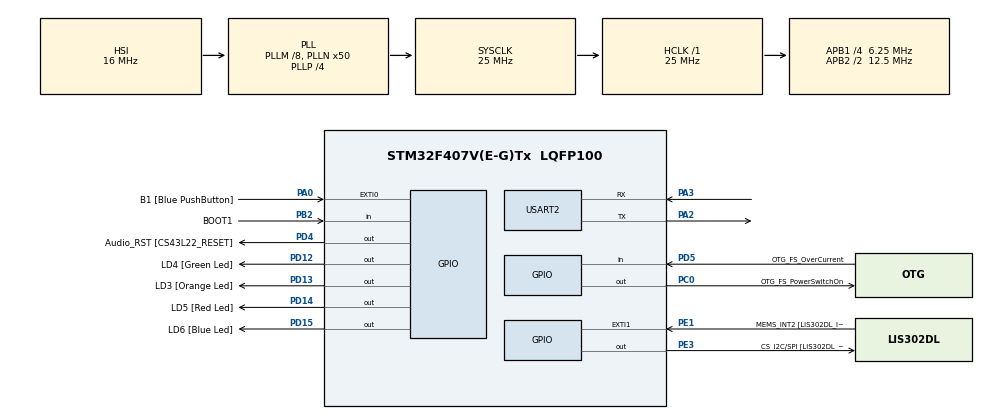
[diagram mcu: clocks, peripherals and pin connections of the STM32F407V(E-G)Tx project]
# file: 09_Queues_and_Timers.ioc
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Mcu.Family=STM32F4
Mcu.Name=STM32F407V(E-G)Tx
Mcu.Package=LQFP100
NVIC.PriorityGroup=NVIC_PRIORITYGROUP_4
NVIC.TIM6_DAC_IRQn=true\:15\:0\:false\:false\:true\:false\:true\:true
NVIC.TimeBase=TIM6_DAC_IRQn
NVIC.TimeBaseIP=TIM6
NVIC.USART2_IRQn=true\:5\:0\:true\:false\:true\:true\:true\:true
PA0-WKUP.GPIO_Label=B1 [Blue PushButton]
PA0-WKUP.Signal=GPXTI0
PA10.GPIO_Label=OTG_FS_ID
PA10.GPIO_Mode=GPIO_MODE_AF_PP
PA10.GPIO_PuPd=GPIO_NOPULL
PA10.GPIO_Speed=GPIO_SPEED_FREQ_LOW
PA10.Signal=USB_OTG_FS_ID
PA11.GPIO_Label=OTG_FS_DM
PA11.GPIO_Mode=GPIO_MODE_AF_PP
PA11.GPIO_PuPd=GPIO_NOPULL
PA11.GPIO_Speed=GPIO_SPEED_FREQ_LOW
PA11.Signal=USB_OTG_FS_DM
PA12.GPIO_Label=OTG_FS_DP
PA12.GPIO_Mode=GPIO_MODE_AF_PP
PA12.GPIO_PuPd=GPIO_NOPULL
PA12.GPIO_Speed=GPIO_SPEED_FREQ_LOW
PA12.Signal=USB_OTG_FS_DP
PA13.GPIO_Label=SWDIO
PA13.Signal=SYS_JTMS-SWDIO
PA14.GPIO_Label=SWCLK
PA14.Signal=SYS_JTCK-SWCLK
PA2.Mode=Asynchronous
PA2.Signal=USART2_TX
PA3.Mode=Asynchronous
PA3.Signal=USART2_RX
PA4.GPIO_Label=I2S3_WS [CS43L22_LRCK]
PA4.GPIO_Mode=GPIO_MODE_AF_PP
PA4.GPIO_PuPd=GPIO_NOPULL
PA4.GPIO_Speed=GPIO_SPEED_FREQ_LOW
PA4.Signal=I2S3_WS
PA5.GPIO_Label=SPI1_SCK [LIS302DL_SCL/SPC]
PA5.GPIO_Mode=GPIO_MODE_AF_PP
PA5.GPIO_PuPd=GPIO_NOPULL
PA5.GPIO_Speed=GPIO_SPEED_FREQ_LOW
PA5.Signal=SPI1_SCK
PA6.GPIO_Label=SPI1_MISO [LIS302DL_SDO]
PA6.GPIO_Mode=GPIO_MODE_AF_PP
PA6.GPIO_PuPd=GPIO_NOPULL
PA6.GPIO_Speed=GPIO_SPEED_FREQ_LOW
PA6.Signal=SPI1_MISO
PA7.GPIO_Label=SPI1_MOSI [LIS302DL_SDA/SDI/SDO]
PA7.GPIO_Mode=GPIO_MODE_AF_PP
PA7.GPIO_PuPd=GPIO_NOPULL
PA7.GPIO_Speed=GPIO_SPEED_FREQ_LOW
PA7.Signal=SPI1_MOSI
PA9.GPIO_Label=VBUS_FS
PA9.GPIO_Mode=GPIO_MODE_INPUT
PA9.GPIO_PuPd=GPIO_NOPULL
PA9.Signal=USB_OTG_FS_VBUS
PB10.GPIO_Label=CLK_IN [MP45DT02_CLK]
PB10.GPIO_Mode=GPIO_MODE_AF_PP
PB10.GPIO_PuPd=GPIO_NOPULL
PB10.GPIO_Speed=GPIO_SPEED_FREQ_LOW
PB10.Signal=I2S2_CK
PB2.GPIO_Label=BOOT1
PB2.GPIO_Mode=GPIO_MODE_INPUT
PB2.GPIO_PuPd=GPIO_NOPULL
PB2.Signal=GPIO_Input
PB3.GPIO_Label=SWO
PB3.Signal=SYS_JTDO-SWO
PB6.GPIO_Label=Audio_SCL [CS43L22_SCL]
PB6.GPIO_Mode=GPIO_MODE_AF_OD
PB6.GPIO_PuPd=GPIO_NOPULL
PB6.GPIO_Speed=GPIO_SPEED_FREQ_LOW
PB6.Signal=I2C1_SCL
PB9.GPIO_Label=Audio_SDA [CS43L22_SDA]
PB9.GPIO_Mode=GPIO_MODE_AF_OD
PB9.GPIO_PuPd=GPIO_NOPULL
PB9.GPIO_Speed=GPIO_SPEED_FREQ_LOW
PB9.Signal=I2C1_SDA
PC0.GPIO_Label=OTG_FS_PowerSwitchOn
PC0.GPIO_PuPd=GPIO_NOPULL
PC0.GPIO_Speed=GPIO_SPEED_FREQ_LOW
PC0.PinState=GPIO_PIN_SET
PC0.Signal=GPIO_Output
PC10.GPIO_Label=I2S3_SCK [CS43L22_SCLK]
PC10.GPIO_Mode=GPIO_MODE_AF_PP
PC10.GPIO_PuPd=GPIO_NOPULL
PC10.GPIO_Speed=GPIO_SPEED_FREQ_LOW
PC10.Signal=I2S3_CK
PC12.GPIO_Label=I2S3_SD [CS43L22_SDIN]
PC12.GPIO_Mode=GPIO_MODE_AF_PP
PC12.GPIO_PuPd=GPIO_NOPULL
PC12.GPIO_Speed=GPIO_SPEED_FREQ_LOW
PC12.Signal=I2S3_SD
PC14-OSC32_IN.GPIO_Label=PC14-OSC32_IN
PC14-OSC32_IN.Signal=RCC_OSC32_IN
PC15-OSC32_OUT.GPIO_Label=PC15-OSC32_OUT
PC15-OSC32_OUT.Signal=RCC_OSC32_OUT
PC3.GPIO_Label=PDM_OUT [MP45DT02_DOUT]
PC3.GPIO_Mode=GPIO_MODE_AF_PP
PC3.GPIO_PuPd=GPIO_NOPULL
PC3.GPIO_Speed=GPIO_SPEED_FREQ_LOW
PC3.Signal=I2S2_SD
PC7.GPIO_Label=I2S3_MCK [CS43L22_MCLK]
PC7.GPIO_Mode=GPIO_MODE_AF_PP
PC7.GPIO_PuPd=GPIO_NOPULL
PC7.GPIO_Speed=GPIO_SPEED_FREQ_LOW
PC7.Signal=I2S3_MCK
PD12.GPIO_Label=LD4 [Green Led]
PD12.GPIO_PuPd=GPIO_NOPULL
PD12.GPIO_Speed=GPIO_SPEED_FREQ_LOW
PD12.Signal=GPIO_Output
PD13.GPIO_Label=LD3 [Orange Led]
PD13.GPIO_PuPd=GPIO_NOPULL
PD13.GPIO_Speed=GPIO_SPEED_FREQ_LOW
PD13.Signal=GPIO_Output
PD14.GPIO_Label=LD5 [Red Led]
PD14.GPIO_PuPd=GPIO_NOPULL
PD14.GPIO_Speed=GPIO_SPEED_FREQ_LOW
PD14.Signal=GPIO_Output
PD15.GPIO_Label=LD6 [Blue Led]
PD15.GPIO_PuPd=GPIO_NOPULL
PD15.GPIO_Speed=GPIO_SPEED_FREQ_LOW
PD15.Signal=GPIO_Output
PD4.GPIO_Label=Audio_RST [CS43L22_RESET]
PD4.GPIO_PuPd=GPIO_NOPULL
PD4.GPIO_Speed=GPIO_SPEED_FREQ_LOW
PD4.Signal=GPIO_Output
PD5.GPIO_Label=OTG_FS_OverCurrent
PD5.GPIO_Mode=GPIO_MODE_INPUT
PD5.GPIO_PuPd=GPIO_NOPULL
PD5.Signal=GPIO_Input
PE1.GPIO_Label=MEMS_INT2 [LIS302DL_INT2]
PE1.GPIO_ModeDefaultEXTI=GPIO_MODE_EVT_RISING
PE1.GPIO_PuPd=GPIO_NOPULL
PE1.Signal=GPXTI1
PE3.GPIO_Label=CS_I2C/SPI [LIS302DL_CS_I2C/SPI]
PE3.GPIO_PuPd=GPIO_NOPULL
PE3.GPIO_Speed=GPIO_SPEED_FREQ_LOW
PE3.Signal=GPIO_Output
PH0-OSC_IN.GPIO_Label=PH0-OSC_IN
PH0-OSC_IN.Signal=RCC_OSC_IN
PH1-OSC_OUT.GPIO_Label=PH1-OSC_OUT
PH1-OSC_OUT.Signal=RCC_OSC_OUT
ProjectManager.HeapSize=0x200
ProjectManager.StackSize=0x400
ProjectManager.TargetToolchain=STM32CubeIDE
RCC.48MHZClocksFreq_Value=14285714.285714285
RCC.AHBFreq_Value=25000000
RCC.APB1CLKDivider=RCC_HCLK_DIV4
RCC.APB1Freq_Value=6250000
RCC.APB1TimFreq_Value=12500000
RCC.APB2CLKDivider=RCC_HCLK_DIV2
RCC.APB2Freq_Value=12500000
RCC.APB2TimFreq_Value=25000000
RCC.CortexFreq_Value=25000000
RCC.HCLKFreq_Value=25000000
RCC.HSE_VALUE=8000000
RCC.HSI_VALUE=16000000
RCC.LSE_VALUE=32768
RCC.PLLM=8
RCC.PLLN=50
RCC.PLLP=RCC_PLLP_DIV4
RCC.PLLQ=7
RCC.SYSCLKFreq_VALUE=25000000
RCC.SYSCLKSource=RCC_SYSCLKSOURCE_PLLCLK
RCC.VCOOutputFreq_Value=100000000
RTC.HourFormat=RTC_HOURFORMAT_12
USART2.VirtualMode=VM_ASYNC
VP_RTC_VS_RTC_Activate.Mode=RTC_Enabled
VP_SYS_VS_tim6.Mode=TIM6
board=STM32F407G-DISC1

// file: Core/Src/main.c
/* USER CODE BEGIN Header */
/**
  ******************************************************************************
  * @file           : main.c
  * @brief          : Main program body
  ******************************************************************************
  * @attention
  *
  * Copyright (c) 2023 STMicroelectronics.
  * All rights reserved.
  *
  * This software is licensed under terms that can be found in the LICENSE file
  * in the root directory of this software component.
  * If no LICENSE file comes with this software, it is provided AS-IS.
  *
  ******************************************************************************
  */
/* USER CODE END Header */
#include "main.h"

RTC_HandleTypeDef hrtc;

UART_HandleTypeDef huart2;

/* USER CODE BEGIN PV */
xTaskHandle cmd_task_handle;
xTaskHandle menu_task_handle;
xTaskHandle print_task_handle;
xTaskHandle led_task_handle;
xTaskHandle rtc_task_handle;

QueueHandle_t q_data;
QueueHandle_t q_print;

// Software timer handles
TimerHandle_t led_timer_handles[4];
TimerHandle_t rtc_timer;	// For RTC reporting functionality

uint8_t volatile data_byte;

State_Enum curr_state = sMainMenu;	// Application state

/* USER CODE END PV */

void SystemClock_Config(void);
static void MX_GPIO_Init(void);
static void MX_RTC_Init(void);
static void MX_USART2_UART_Init(void);
/* USER CODE BEGIN PFP */
void led_timer_callback(TimerHandle_t xTimer);
void rtc_report_callback(TimerHandle_t xTimer);	// For RTC reporting functionality

/* USER CODE END PFP */

int main(void)
{
  /* USER CODE BEGIN 1 */
  BaseType_t status;	// Stores the return value of xTaskCreate()

  /* USER CODE END 1 */

  /* MCU Configuration--------------------------------------------------------*/

  /* Reset of all peripherals, Initializes the Flash interface and the Systick. */
  HAL_Init();

  /* Configure the system clock */
  SystemClock_Config();

  /* Initialize all configured peripherals */
  MX_GPIO_Init();
  MX_RTC_Init();
  MX_USART2_UART_Init();
  /* USER CODE BEGIN 2 */

  //-------------------------------- Create tasks ---------------------------------------
  status = xTaskCreate(menu_task_handler, "menu_task", 250, NULL, 2, &menu_task_handle);
  configASSERT(status == pdPASS);

  status = xTaskCreate(cmd_task_handler, "cmd_task", 250, NULL, 2, &cmd_task_handle);
  configASSERT(status == pdPASS);

  status = xTaskCreate(print_task_handler, "print_task", 250, NULL, 2, &print_task_handle);
  configASSERT(status == pdPASS);

  status = xTaskCreate(led_task_handler, "led_task", 250, NULL, 2, &led_task_handle);
  configASSERT(status == pdPASS);

  status = xTaskCreate(rtc_task_handler, "rtc_task", 250, NULL, 2, &rtc_task_handle);
  configASSERT(status == pdPASS);

  //-------------------------------- Create queues --------------------------------------

  // Create input data queue
  q_data = xQueueCreate(10, sizeof(char));
  configASSERT(q_data != NULL);		// If the queue creation fails, program will hand here

  // Create print queue
  q_print = xQueueCreate(10, sizeof(size_t));	// pointer-size
  configASSERT(q_print != NULL);	// If the queue creation fails, program will hand here

  // Create software timers for LED effects
  for (int i = 0; i < 4; i++)
	  led_timer_handles[i] = xTimerCreate("led_timer", pdMS_TO_TICKS(500), pdTRUE, (void *)(i + 1), led_timer_callback);

  // Create a software timer for RTC reporting functionality
  rtc_timer = xTimerCreate("rtc_report_timer", pdMS_TO_TICKS(1000), pdTRUE, NULL, rtc_report_callback);

  // Prepare the USART peripheral so that it can receive data bytes in the interrupt mode.
  // Whenever the data is received, the callback function 'HAL_UART_RxCpltCallback()' will
  // be called.
  HAL_UART_Receive_IT(&huart2, (uint8_t *)&data_byte, 1);

  // Start FreeRTOS scheduler
  // vTaskStartScheduler() never returns unless there's a problem launching scheduler
  vTaskStartScheduler();

  // This line will only be reached if the kernel could not be started because there was
  // not enough FreeRTOS heap to create the idle task or the timer task.

  /* USER CODE END 2 */

  /* Infinite loop */
  while (1)
  {

  }
}

void SystemClock_Config(void)
{
  RCC_OscInitTypeDef RCC_OscInitStruct = {0};
  RCC_ClkInitTypeDef RCC_ClkInitStruct = {0};

  /** Configure the main internal regulator output voltage
  */
  __HAL_RCC_PWR_CLK_ENABLE();
  __HAL_PWR_VOLTAGESCALING_CONFIG(PWR_REGULATOR_VOLTAGE_SCALE1);

  /** Initializes the RCC Oscillators according to the specified parameters
  * in the RCC_OscInitTypeDef structure.
  */
  RCC_OscInitStruct.OscillatorType = RCC_OSCILLATORTYPE_HSI|RCC_OSCILLATORTYPE_LSI;
  RCC_OscInitStruct.HSIState = RCC_HSI_ON;
  RCC_OscInitStruct.HSICalibrationValue = RCC_HSICALIBRATION_DEFAULT;
  RCC_OscInitStruct.LSIState = RCC_LSI_ON;
  RCC_OscInitStruct.PLL.PLLState = RCC_PLL_ON;
  RCC_OscInitStruct.PLL.PLLSource = RCC_PLLSOURCE_HSI;
  RCC_OscInitStruct.PLL.PLLM = 8;
  RCC_OscInitStruct.PLL.PLLN = 50;
  RCC_OscInitStruct.PLL.PLLP = RCC_PLLP_DIV4;
  RCC_OscInitStruct.PLL.PLLQ = 7;
  if (HAL_RCC_OscConfig(&RCC_OscInitStruct) != HAL_OK)
  {
    Error_Handler();
  }

  /** Initializes the CPU, AHB and APB buses clocks
  */
  RCC_ClkInitStruct.ClockType = RCC_CLOCKTYPE_HCLK|RCC_CLOCKTYPE_SYSCLK
                              |RCC_CLOCKTYPE_PCLK1|RCC_CLOCKTYPE_PCLK2;
  RCC_ClkInitStruct.SYSCLKSource = RCC_SYSCLKSOURCE_PLLCLK;
  RCC_ClkInitStruct.AHBCLKDivider = RCC_SYSCLK_DIV1;
  RCC_ClkInitStruct.APB1CLKDivider = RCC_HCLK_DIV4;
  RCC_ClkInitStruct.APB2CLKDivider = RCC_HCLK_DIV2;

  if (HAL_RCC_ClockConfig(&RCC_ClkInitStruct, FLASH_LATENCY_0) != HAL_OK)
  {
    Error_Handler();
  }
}

static void MX_RTC_Init(void)
{

  /** Initialize RTC Only
  */
  hrtc.Instance = RTC;
  hrtc.Init.HourFormat = RTC_HOURFORMAT_12;
  hrtc.Init.AsynchPrediv = 127;
  hrtc.Init.SynchPrediv = 255;
  hrtc.Init.OutPut = RTC_OUTPUT_DISABLE;
  hrtc.Init.OutPutPolarity = RTC_OUTPUT_POLARITY_HIGH;
  hrtc.Init.OutPutType = RTC_OUTPUT_TYPE_OPENDRAIN;
  if (HAL_RTC_Init(&hrtc) != HAL_OK)
  {
    Error_Handler();
  }

}

static void MX_USART2_UART_Init(void)
{

  huart2.Instance = USART2;
  huart2.Init.BaudRate = 115200;
  huart2.Init.WordLength = UART_WORDLENGTH_8B;
  huart2.Init.StopBits = UART_STOPBITS_1;
  huart2.Init.Parity = UART_PARITY_NONE;
  huart2.Init.Mode = UART_MODE_TX_RX;
  huart2.Init.HwFlowCtl = UART_HWCONTROL_NONE;
  huart2.Init.OverSampling = UART_OVERSAMPLING_16;
  if (HAL_UART_Init(&huart2) != HAL_OK)
  {
    Error_Handler();
  }

}

static void MX_GPIO_Init(void)
{
  GPIO_InitTypeDef GPIO_InitStruct = {0};

  /* GPIO Ports Clock Enable */
  __HAL_RCC_GPIOE_CLK_ENABLE();
  __HAL_RCC_GPIOC_CLK_ENABLE();
  __HAL_RCC_GPIOH_CLK_ENABLE();
  __HAL_RCC_GPIOA_CLK_ENABLE();
  __HAL_RCC_GPIOB_CLK_ENABLE();
  __HAL_RCC_GPIOD_CLK_ENABLE();

  /*Configure GPIO pin Output Level */
  HAL_GPIO_WritePin(CS_I2C_SPI_GPIO_Port, CS_I2C_SPI_Pin, GPIO_PIN_RESET);

  /*Configure GPIO pin Output Level */
  HAL_GPIO_WritePin(OTG_FS_PowerSwitchOn_GPIO_Port, OTG_FS_PowerSwitchOn_Pin, GPIO_PIN_SET);

  /*Configure GPIO pin Output Level */
  HAL_GPIO_WritePin(GPIOD, LD4_Pin|LD3_Pin|LD5_Pin|LD6_Pin
                          |Audio_RST_Pin, GPIO_PIN_RESET);

  /*Configure GPIO pin : CS_I2C_SPI_Pin */
  GPIO_InitStruct.Pin = CS_I2C_SPI_Pin;
  GPIO_InitStruct.Mode = GPIO_MODE_OUTPUT_PP;
  GPIO_InitStruct.Pull = GPIO_NOPULL;
  GPIO_InitStruct.Speed = GPIO_SPEED_FREQ_LOW;
  HAL_GPIO_Init(CS_I2C_SPI_GPIO_Port, &GPIO_InitStruct);

  /*Configure GPIO pin : OTG_FS_PowerSwitchOn_Pin */
  GPIO_InitStruct.Pin = OTG_FS_PowerSwitchOn_Pin;
  GPIO_InitStruct.Mode = GPIO_MODE_OUTPUT_PP;
  GPIO_InitStruct.Pull = GPIO_NOPULL;
  GPIO_InitStruct.Speed = GPIO_SPEED_FREQ_LOW;
  HAL_GPIO_Init(OTG_FS_PowerSwitchOn_GPIO_Port, &GPIO_InitStruct);

  /*Configure GPIO pin : PDM_OUT_Pin */
  GPIO_InitStruct.Pin = PDM_OUT_Pin;
  GPIO_InitStruct.Mode = GPIO_MODE_AF_PP;
  GPIO_InitStruct.Pull = GPIO_NOPULL;
  GPIO_InitStruct.Speed = GPIO_SPEED_FREQ_LOW;
  GPIO_InitStruct.Alternate = GPIO_AF5_SPI2;
  HAL_GPIO_Init(PDM_OUT_GPIO_Port, &GPIO_InitStruct);

  /*Configure GPIO pin : B1_Pin */
  GPIO_InitStruct.Pin = B1_Pin;
  GPIO_InitStruct.Mode = GPIO_MODE_IT_RISING;
  GPIO_InitStruct.Pull = GPIO_NOPULL;
  HAL_GPIO_Init(B1_GPIO_Port, &GPIO_InitStruct);

  /*Configure GPIO pin : I2S3_WS_Pin */
  GPIO_InitStruct.Pin = I2S3_WS_Pin;
  GPIO_InitStruct.Mode = GPIO_MODE_AF_PP;
  GPIO_InitStruct.Pull = GPIO_NOPULL;
  GPIO_InitStruct.Speed = GPIO_SPEED_FREQ_LOW;
  GPIO_InitStruct.Alternate = GPIO_AF6_SPI3;
  HAL_GPIO_Init(I2S3_WS_GPIO_Port, &GPIO_InitStruct);

  /*Configure GPIO pins : SPI1_SCK_Pin SPI1_MISO_Pin SPI1_MOSI_Pin */
  GPIO_InitStruct.Pin = SPI1_SCK_Pin|SPI1_MISO_Pin|SPI1_MOSI_Pin;
  GPIO_InitStruct.Mode = GPIO_MODE_AF_PP;
  GPIO_InitStruct.Pull = GPIO_NOPULL;
  GPIO_InitStruct.Speed = GPIO_SPEED_FREQ_LOW;
  GPIO_InitStruct.Alternate = GPIO_AF5_SPI1;
  HAL_GPIO_Init(GPIOA, &GPIO_InitStruct);

  /*Configure GPIO pin : BOOT1_Pin */
  GPIO_InitStruct.Pin = BOOT1_Pin;
  GPIO_InitStruct.Mode = GPIO_MODE_INPUT;
  GPIO_InitStruct.Pull = GPIO_NOPULL;
  HAL_GPIO_Init(BOOT1_GPIO_Port, &GPIO_InitStruct);

  /*Configure GPIO pin : CLK_IN_Pin */
  GPIO_InitStruct.Pin = CLK_IN_Pin;
  GPIO_InitStruct.Mode = GPIO_MODE_AF_PP;
  GPIO_InitStruct.Pull = GPIO_NOPULL;
  GPIO_InitStruct.Speed = GPIO_SPEED_FREQ_LOW;
  GPIO_InitStruct.Alternate = GPIO_AF5_SPI2;
  HAL_GPIO_Init(CLK_IN_GPIO_Port, &GPIO_InitStruct);

  /*Configure GPIO pins : LD4_Pin LD3_Pin LD5_Pin LD6_Pin
                           Audio_RST_Pin */
  GPIO_InitStruct.Pin = LD4_Pin|LD3_Pin|LD5_Pin|LD6_Pin
                          |Audio_RST_Pin;
  GPIO_InitStruct.Mode = GPIO_MODE_OUTPUT_PP;
  GPIO_InitStruct.Pull = GPIO_NOPULL;
  GPIO_InitStruct.Speed = GPIO_SPEED_FREQ_LOW;
  HAL_GPIO_Init(GPIOD, &GPIO_InitStruct);

  /*Configure GPIO pins : I2S3_MCK_Pin I2S3_SCK_Pin I2S3_SD_Pin */
  GPIO_InitStruct.Pin = I2S3_MCK_Pin|I2S3_SCK_Pin|I2S3_SD_Pin;
  GPIO_InitStruct.Mode = GPIO_MODE_AF_PP;
  GPIO_InitStruct.Pull = GPIO_NOPULL;
  GPIO_InitStruct.Speed = GPIO_SPEED_FREQ_LOW;
  GPIO_InitStruct.Alternate = GPIO_AF6_SPI3;
  HAL_GPIO_Init(GPIOC, &GPIO_InitStruct);

  /*Configure GPIO pin : VBUS_FS_Pin */
  GPIO_InitStruct.Pin = VBUS_FS_Pin;
  GPIO_InitStruct.Mode = GPIO_MODE_INPUT;
  GPIO_InitStruct.Pull = GPIO_NOPULL;
  HAL_GPIO_Init(VBUS_FS_GPIO_Port, &GPIO_InitStruct);

  /*Configure GPIO pins : OTG_FS_ID_Pin OTG_FS_DM_Pin OTG_FS_DP_Pin */
  GPIO_InitStruct.Pin = OTG_FS_ID_Pin|OTG_FS_DM_Pin|OTG_FS_DP_Pin;
  GPIO_InitStruct.Mode = GPIO_MODE_AF_PP;
  GPIO_InitStruct.Pull = GPIO_NOPULL;
  GPIO_InitStruct.Speed = GPIO_SPEED_FREQ_LOW;
  GPIO_InitStruct.Alternate = GPIO_AF10_OTG_FS;
  HAL_GPIO_Init(GPIOA, &GPIO_InitStruct);

  /*Configure GPIO pin : OTG_FS_OverCurrent_Pin */
  GPIO_InitStruct.Pin = OTG_FS_OverCurrent_Pin;
  GPIO_InitStruct.Mode = GPIO_MODE_INPUT;
  GPIO_InitStruct.Pull = GPIO_NOPULL;
  HAL_GPIO_Init(OTG_FS_OverCurrent_GPIO_Port, &GPIO_InitStruct);

  /*Configure GPIO pins : Audio_SCL_Pin Audio_SDA_Pin */
  GPIO_InitStruct.Pin = Audio_SCL_Pin|Audio_SDA_Pin;
  GPIO_InitStruct.Mode = GPIO_MODE_AF_OD;
  GPIO_InitStruct.Pull = GPIO_NOPULL;
  GPIO_InitStruct.Speed = GPIO_SPEED_FREQ_LOW;
  GPIO_InitStruct.Alternate = GPIO_AF4_I2C1;
  HAL_GPIO_Init(GPIOB, &GPIO_InitStruct);

  /*Configure GPIO pin : MEMS_INT2_Pin */
  GPIO_InitStruct.Pin = MEMS_INT2_Pin;
  GPIO_InitStruct.Mode = GPIO_MODE_EVT_RISING;
  GPIO_InitStruct.Pull = GPIO_NOPULL;
  HAL_GPIO_Init(MEMS_INT2_GPIO_Port, &GPIO_InitStruct);

}

/* USER CODE BEGIN 4 */

void rtc_report_callback(TimerHandle_t xTimer)
{
	// Display RTC time and date information to ITM data console
	display_time_date_itm();
}

void led_timer_callback(TimerHandle_t xTimer)
{
	int id;
	id = (uint32_t)pvTimerGetTimerID(xTimer);

	switch (id)
	{
	case 1:
		led_effect1();
		break;
	case 2:
		led_effect2();
		break;
	case 3:
		led_effect3();
		break;
	case 4:
		led_effect4();
		break;
	}
}

// This function is called from the UART interrupt handler, hence executes in the
// interrupt context.
void HAL_UART_RxCpltCallback(UART_HandleTypeDef *huart)
{
	uint8_t dummy_byte;
	if (!xQueueIsQueueFullFromISR(q_data))
	{
		// Queue is not full!

		// Enqueue a data byte
		xQueueSendFromISR(q_data, (void *)&data_byte, NULL);
	}
	else
	{
		// Queue is full!
		// Disregard all the leftover data bytes to be sent but '\n' to make sure
		// that the last data byte of the queue is '\n'.

		if (data_byte == '\n')
		{
			// Overwrite the last data byte of the queue with '\n'
			xQueueOverwriteFromISR(q_data, (void *)&dummy_byte, NULL);
			xQueueSendFromISR(q_data, (void *)&data_byte, NULL);
		}
	}

	// Send notification to the command handling task 'cmd_task' if the data byte
	// is '\n'.
	if (data_byte == '\n')
	{
		// Send notification to command handling task
		xTaskNotifyFromISR(cmd_task_handle, 0, eNoAction, NULL);
	}

	// Enable USART data byte reception again in IT mode
	HAL_UART_Receive_IT(&huart2, (uint8_t *)&data_byte, 1);
}
/* USER CODE END 4 */

void HAL_TIM_PeriodElapsedCallback(TIM_HandleTypeDef *htim)
{
  if (htim->Instance == TIM6) {
    HAL_IncTick();
  }
}

void Error_Handler(void)
{
  __disable_irq();
  while (1)
  {
  }
}
